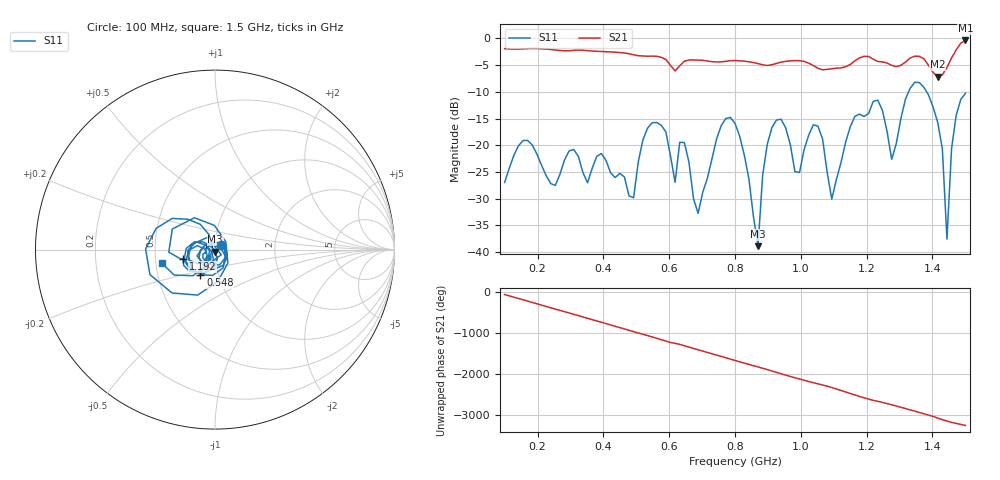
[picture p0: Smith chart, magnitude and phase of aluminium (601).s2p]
! NanoVNA-App
! Date: 2025-09-25 14:59:57
! Start: 100MHz Stop: 1,5GHz Points: 101
! S-Parameter data: F S11 S21 S12 S22
# Hz S RI R 50
!  Frequency  S11_Real  S11_Imag  S21_Real  S21_Imag  S12_Real  S12_Imag  S22_Real  S22_Imag
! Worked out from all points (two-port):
!   101 points, 100 MHz to 1.5 GHz, reference 50 ohm
!   highest |S21| = -0.39 dB at 1.5 GHz (marker M1); lowest = -7.1 dB at 1.416 GHz (marker M2)
!   |S21| within 3 dB of the highest: start of sweep to 564.5 MHz; 1.46 GHz to end of sweep (the widest 2 of 4)
!   lowest |S11| = -38.9 dB at 870 MHz (marker M3), VSWR 1.02, Z = 50.1 - j1.13 ohm
!   |S11| at or under -10 dB: start of sweep to 1.327 GHz; 1.382 GHz to end of sweep
!   S12 and S22 are empty: the file has one direction only
!   S11 on the Smith chart (normalised r, x): 100 MHz: 1.07, +0.06; 548 MHz: 0.82, -0.24; 1.192 GHz: 0.69, -0.07; 1.5 GHz: 0.54, -0.09
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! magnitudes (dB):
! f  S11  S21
! 100 MHz  -27.0  -1.9
! 156 MHz  -19.1  -2.0
! 338 MHz  -25.1  -2.2
! 492 MHz  -29.8  -3.1
! 548 MHz  -15.8  -3.3
! 576 MHz  -16.3  -3.5
! 618 MHz  -26.9  -6.1
! 646 MHz  -19.5  -4.3
! 688 MHz  -32.7  -4.1
! 800 MHz  -15.9  -4.1
! 870 MHz  -38.9  -4.7
! 912 MHz  -16.7  -4.9
! 996 MHz  -25.1  -4.2
! 1.038 GHz  -16.2  -5.1
! 1.094 GHz  -30.1  -5.7
! 1.192 GHz  -14.6  -3.4
! 1.276 GHz  -22.6  -5.0
! 1.346 GHz  -8.2  -3.3
! 1.416 GHz  -15.7  -7.1
! 1.444 GHz  -37.5  -5.5
! 1.458 GHz  -20.6  -3.6
! 1.5 GHz  -10.3  -0.4
